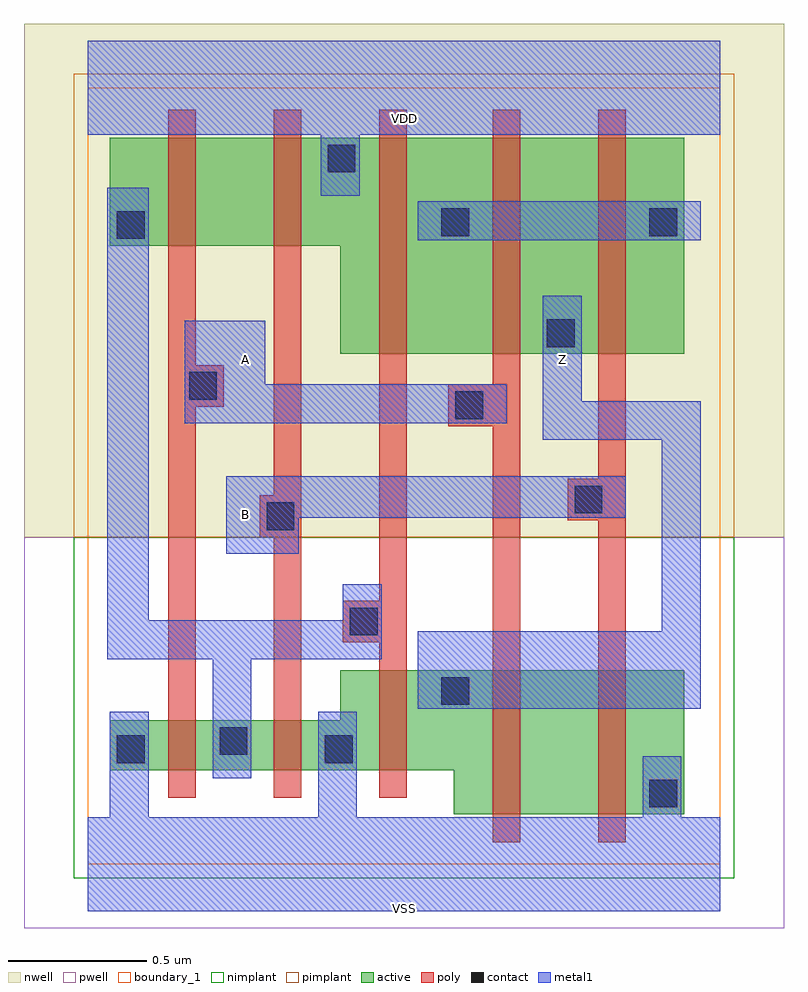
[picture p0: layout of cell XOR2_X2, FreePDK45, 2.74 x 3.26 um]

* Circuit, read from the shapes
.subckt XOR2_X2 A B VDD VSS Z
M1 n1 A VSS VSUBS nfet w=0.18u l=0.1u
M2 VSS B n1 VSUBS nfet w=0.18u l=0.1u
M3 Z n1 VSS VSUBS nfet w=0.36u l=0.1u
M4 n2 A Z VSUBS nfet w=0.52u l=0.1u
M5 VSS B n2 VSUBS nfet w=0.52u l=0.1u
M6 n3 A n1 n4 pfet w=0.39u l=0.1u
M7 VDD B n3 n4 pfet w=0.39u l=0.1u
M8 n5 n1 VDD n4 pfet w=0.78u l=0.1u
M9 Z A n5 n4 pfet w=0.78u l=0.1u
M10 n5 B Z n4 pfet w=0.78u l=0.1u
.ends

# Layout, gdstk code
import gdstk
lib = gdstk.Library(unit=1e-6, precision=1e-09)
def R(c, l, rs):  # rectangles x0, y0, x1, y1
    for r in rs: c.add(gdstk.rectangle(r[:2], r[2:], *l))
def P(c, l, *ps):  # polygons
    for p in ps: c.add(gdstk.Polygon(p, *l))
active = (1, 0)
pwell = (2, 0)
nwell = (3, 0)
nimplant = (4, 0)
pimplant = (5, 0)
poly = (9, 0)
contact = (10, 0)
metal1 = (11, 0)
boundary_1 = (235, 1)

xor2_x2 = lib.new_cell('XOR2_X2')
P(xor2_x2, active, [(0.08,2.23),(0.91,2.23),(0.91,1.84),(2.15,1.84),(2.15,2.62),(0.08,2.62)],
  [(0.08,0.34),(1.32,0.34),(1.32,0.18),(2.15,0.18),(2.15,0.7),(0.91,0.7),(0.91,0.52),(0.08,0.52)])
R(xor2_x2, pwell, [(-0.23,-0.23,2.51,1.18)])
R(xor2_x2, nwell, [(-0.23,1.18,2.51,3.03)])
R(xor2_x2, nimplant, [(-0.05,-0.05,2.33,1.18)])
R(xor2_x2, pimplant, [(-0.05,1.18,2.33,2.85)])
P(xor2_x2, poly, [(1.73,1.24),(1.84,1.24),(1.84,0.08),(1.94,0.08),(1.94,2.72),(1.84,2.72),(1.84,1.39),(1.73,1.39)],
  [(1.3,1.58),(1.46,1.58),(1.46,0.08),(1.56,0.08),(1.56,2.72),(1.46,2.72),(1.46,1.73),(1.3,1.73)],
  [(0.92,0.8),(1.05,0.8),(1.05,0.24),(1.15,0.24),(1.15,2.72),(1.05,2.72),(1.05,0.95),(0.92,0.95)],
  [(0.62,1.18),(0.67,1.18),(0.67,0.24),(0.77,0.24),(0.77,2.72),(0.67,2.72),(0.67,1.33),(0.62,1.33)],
  [(0.29,0.24),(0.39,0.24),(0.39,1.65),(0.49,1.65),(0.49,1.8),(0.39,1.8),(0.39,2.72),(0.29,2.72)])
R(xor2_x2, contact, [(2.025,0.205,2.125,0.305), (0.105,0.365,0.205,0.465), (0.855,0.365,0.955,0.465), (0.475,0.395,0.575,0.495), (1.275,0.575,1.375,0.675), (0.945,0.825,1.045,0.925), (0.645,1.205,0.745,1.305), (1.755,1.265,1.855,1.365), (1.325,1.605,1.425,1.705), (0.365,1.675,0.465,1.775), (1.655,1.865,1.755,1.965), (0.105,2.255,0.205,2.355), (1.275,2.265,1.375,2.365), (2.025,2.265,2.125,2.365), (0.865,2.495,0.965,2.595)])
R(xor2_x2, metal1, [(1.19,2.25,2.21,2.39)])
P(xor2_x2, metal1, [(0.5,1.12),(0.76,1.12),(0.76,1.25),(1.94,1.25),(1.94,1.4),(0.5,1.4)],
  [(0,-0.17),(2.28,-0.17),(2.28,0.17),(2.14,0.17),(2.14,0.39),(2,0.39),(2,0.17),(0.97,0.17),(0.97,0.55),(0.83,0.55),(0.83,0.17),(0.22,0.17),(0.22,0.55),(0.08,0.55),(0.08,0.17),(0,0.17)],
  [(0,2.63),(0.84,2.63),(0.84,2.41),(0.98,2.41),(0.98,2.63),(2.28,2.63),(2.28,2.97),(0,2.97)],
  [(0.35,1.59),(1.51,1.59),(1.51,1.73),(0.64,1.73),(0.64,1.96),(0.35,1.96)],
  [(1.64,1.53),(2.07,1.53),(2.07,0.84),(1.19,0.84),(1.19,0.56),(2.21,0.56),(2.21,1.67),(1.78,1.67),(1.78,2.05),(1.64,2.05)],
  [(0,2.63),(0.84,2.63),(0.84,2.41),(0.98,2.41),(0.98,2.63),(2.28,2.63),(2.28,2.97),(0,2.97)],
  [(0,-0.17),(2.28,-0.17),(2.28,0.17),(2.14,0.17),(2.14,0.39),(2,0.39),(2,0.17),(0.97,0.17),(0.97,0.55),(0.83,0.55),(0.83,0.17),(0.22,0.17),(0.22,0.55),(0.08,0.55),(0.08,0.17),(0,0.17)],
  [(1.64,1.53),(2.07,1.53),(2.07,0.84),(1.19,0.84),(1.19,0.56),(2.21,0.56),(2.21,1.67),(1.78,1.67),(1.78,2.05),(1.64,2.05)],
  [(0.5,1.12),(0.76,1.12),(0.76,1.25),(1.94,1.25),(1.94,1.4),(0.5,1.4)],
  [(0.35,1.59),(1.51,1.59),(1.51,1.73),(0.64,1.73),(0.64,1.96),(0.35,1.96)],
  [(0.07,0.74),(0.45,0.74),(0.45,0.31),(0.59,0.31),(0.59,0.74),(1.06,0.74),(1.06,1.01),(0.92,1.01),(0.92,0.88),(0.22,0.88),(0.22,2.44),(0.07,2.44)])
R(xor2_x2, boundary_1, [(0,0,2.28,2.8)])
xor2_x2.add(gdstk.Label('Z', (1.71,1.82), layer=11, texttype=0))
xor2_x2.add(gdstk.Label('VSS', (1.14,-0.16), layer=11, texttype=0))
xor2_x2.add(gdstk.Label('VDD', (1.14,2.69), layer=11, texttype=0))
xor2_x2.add(gdstk.Label('B', (0.57,1.26), layer=11, texttype=0))
xor2_x2.add(gdstk.Label('A', (0.57,1.82), layer=11, texttype=0))

lib.write_gds('XOR2_X2.gds')
